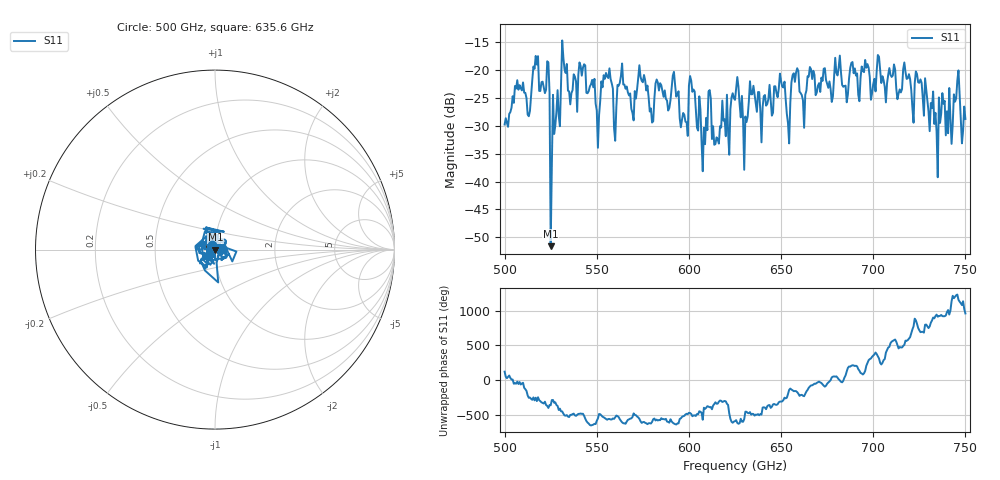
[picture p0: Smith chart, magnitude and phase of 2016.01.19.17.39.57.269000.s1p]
!Created with skrf (http://scikit-rf.org).
# GHz S RI R 50.0
!freq ReS11 ImS11
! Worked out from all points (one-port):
!   401 points, 500 GHz to 750 GHz, reference 50 ohm
!   lowest |S11| = -51.6 dB at 525 GHz (marker M1), VSWR 1.01, Z = 50.3 + j0.018 ohm
!   |S11| at or under -10 dB: start of sweep to end of sweep
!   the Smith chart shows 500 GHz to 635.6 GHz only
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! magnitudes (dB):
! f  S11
! 500 GHz  -29.8
! 506.9 GHz  -21.8
! 513.1 GHz  -28.3
! 516.9 GHz  -17.5
! 523.1 GHz  -18.4
! 525 GHz  -51.6
! 526.2 GHz  -24.5
! 531.2 GHz  -14.7
! 542.5 GHz  -19.6
! 550.6 GHz  -34.0
! 562.5 GHz  -22.3
! 593.8 GHz  -24.4
! 598.1 GHz  -29.3
! 601.9 GHz  -23.9
! 607.5 GHz  -38.2
! 610.6 GHz  -23.9
! 615 GHz  -32.1
! 625 GHz  -25.4
! 630.6 GHz  -28.3
! 634.4 GHz  -24.4
! 650.6 GHz  -23.0
! 653.8 GHz  -29.5
! 656.2 GHz  -20.9
! 687.5 GHz  -19.7
! 718.8 GHz  -21.5
! 734.4 GHz  -31.1
! 745 GHz  -25.1
! 750 GHz  -28.8
